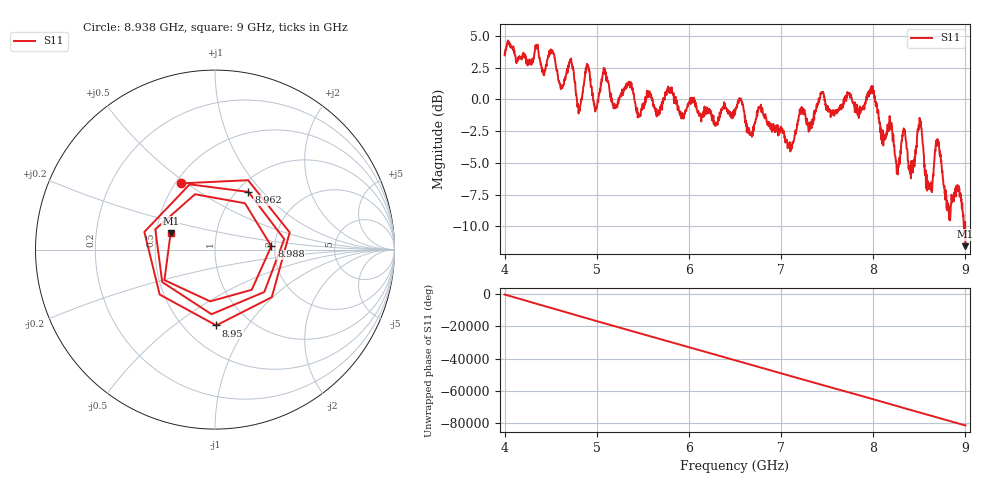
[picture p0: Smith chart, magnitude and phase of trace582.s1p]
! Created with skrf 1.8.0 (http://scikit-rf.org).
# Hz S RI R 50.0
!freq ReS11 ImS11
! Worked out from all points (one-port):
!   1601 points, 4 GHz to 9 GHz, reference 50 ohm
!   lowest |S11| = -11.6 dB at 9 GHz (marker M1), VSWR 1.72, Z = 29.7 + j5.94 ohm
!   |S11| at or under -10 dB: 8.982695 GHz to 8.996067 GHz (13.37 MHz wide, 0.149 % of centre); 8.997542 GHz to end of sweep
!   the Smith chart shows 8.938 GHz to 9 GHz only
!   S11 on the Smith chart (normalised r, x): 8.938 GHz: 0.54, +0.48; 8.95 GHz: 0.71, -0.73; 8.962 GHz: 1.13, +0.84; 8.988 GHz: 1.91, +0.08; 9 GHz: 0.59, +0.12
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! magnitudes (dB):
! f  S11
! 4 GHz  3.5
! 4.509 GHz  3.7
! 4.625 GHz  0.9
! 4.716 GHz  3.2
! 4.806 GHz  -0.9
! 4.897 GHz  2.7
! 4.984 GHz  -1.0
! 5.084 GHz  2.4
! 5.25 GHz  0.2
! 5.875 GHz  -0.6
! 6.5 GHz  -1.2
! 7.125 GHz  -3.4
! 7.222 GHz  -0.6
! 7.75 GHz  0.3
! 7.991 GHz  1.0
! 8.256 GHz  -5.8
! 8.331 GHz  -2.3
! 8.375 GHz  -4.8
! 8.422 GHz  -4.9
! 8.506 GHz  -1.7
! 8.597 GHz  -7.0
! 8.694 GHz  -3.3
! 8.816 GHz  -8.3
! 8.938 GHz  -7.7
! 8.95 GHz  -7.5
! 8.962 GHz  -8.6
! 8.988 GHz  -10.1
! 9 GHz  -11.6
